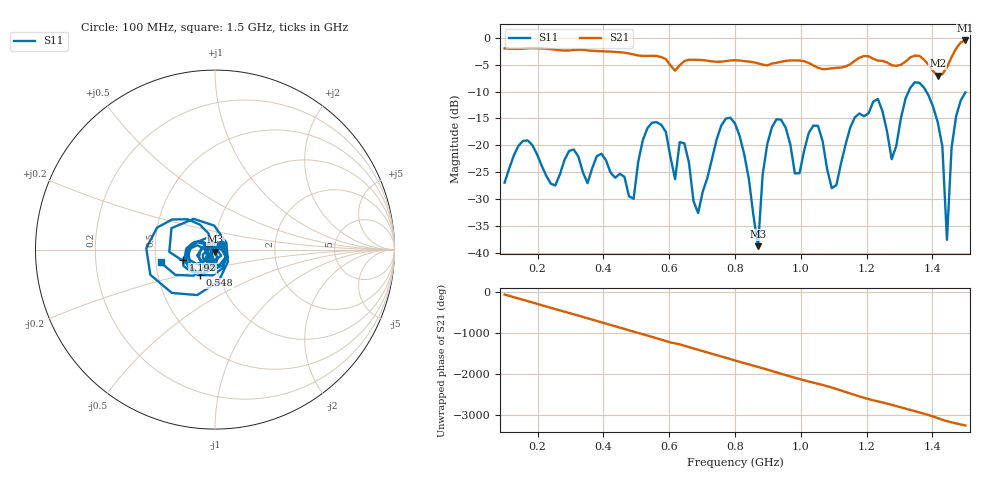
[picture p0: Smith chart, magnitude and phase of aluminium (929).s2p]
! NanoVNA-App
! Date: 2025-09-25 15:02:31
! Start: 100MHz Stop: 1,5GHz Points: 101
! S-Parameter data: F S11 S21 S12 S22
# Hz S RI R 50
!  Frequency  S11_Real  S11_Imag  S21_Real  S21_Imag  S12_Real  S12_Imag  S22_Real  S22_Imag
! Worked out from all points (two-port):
!   101 points, 100 MHz to 1.5 GHz, reference 50 ohm
!   highest |S21| = -0.45 dB at 1.5 GHz (marker M1); lowest = -7.0 dB at 1.416 GHz (marker M2)
!   |S21| within 3 dB of the highest: start of sweep to 569.1 MHz; 1.459 GHz to end of sweep (the widest 2 of 4)
!   lowest |S11| = -38.8 dB at 870 MHz (marker M3), VSWR 1.02, Z = 50.3 - j1.12 ohm
!   |S11| at or under -10 dB: start of sweep to 1.327 GHz; 1.381 GHz to end of sweep
!   S12 and S22 are empty: the file has one direction only
!   S11 on the Smith chart (normalised r, x): 100 MHz: 1.07, +0.06; 548 MHz: 0.82, -0.24; 1.192 GHz: 0.69, -0.08; 1.5 GHz: 0.53, -0.08
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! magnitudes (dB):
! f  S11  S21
! 100 MHz  -27.0  -1.9
! 156 MHz  -19.2  -2.0
! 338 MHz  -25.1  -2.2
! 492 MHz  -30.0  -3.1
! 548 MHz  -15.8  -3.3
! 576 MHz  -16.2  -3.5
! 646 MHz  -19.6  -4.3
! 688 MHz  -32.6  -4.1
! 800 MHz  -15.9  -4.1
! 870 MHz  -38.8  -4.7
! 912 MHz  -16.7  -4.8
! 982 MHz  -25.3  -4.2
! 1.038 GHz  -16.3  -5.1
! 1.094 GHz  -28.0  -5.6
! 1.192 GHz  -14.6  -3.4
! 1.234 GHz  -11.4  -4.2
! 1.276 GHz  -22.6  -5.1
! 1.346 GHz  -8.3  -3.3
! 1.416 GHz  -15.7  -7.0
! 1.444 GHz  -37.6  -5.5
! 1.458 GHz  -20.5  -3.6
! 1.5 GHz  -10.2  -0.4
